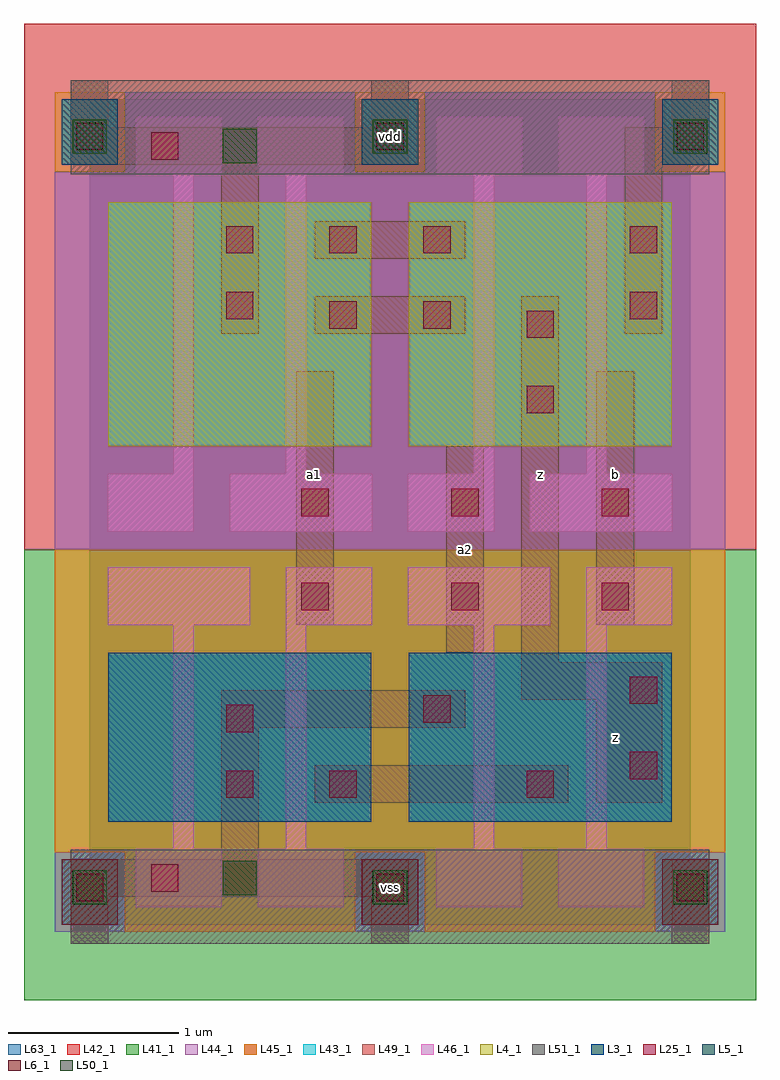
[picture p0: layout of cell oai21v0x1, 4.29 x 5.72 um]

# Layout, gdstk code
import gdstk
lib = gdstk.Library(unit=1e-6, precision=1e-09)
def R(c, l, rs):  # rectangles x0, y0, x1, y1
    for r in rs: c.add(gdstk.rectangle(r[:2], r[2:], *l))
def A(c, l, x, y, w, h, nx, ny, dx, dy):  # array of equal rectangles
    R(c, l, [(x+i*dx, y+j*dy, x+i*dx+w, y+j*dy+h) for i in range(nx) for j in range(ny)])
L3_1 = (3, 1)
L4_1 = (4, 1)
L5_1 = (5, 1)
L6_1 = (6, 1)
L25_1 = (25, 1)
L41_1 = (41, 1)
L42_1 = (42, 1)
L43_1 = (43, 1)
L44_1 = (44, 1)
L45_1 = (45, 1)
L46_1 = (46, 1)
L49_1 = (49, 1)
L50_1 = (50, 1)
L51_1 = (51, 1)
L63_1 = (63, 1)

oai21v0x1 = lib.new_cell('oai21v0x1')
R(oai21v0x1, L3_1, [(0.11,0.605,1.65,1.595), (1.87,0.605,3.41,1.595)])
R(oai21v0x1, L4_1, [(0.11,2.805,1.65,4.235), (1.87,2.805,3.41,4.235)])
A(oai21v0x1, L5_1, -0.165, 4.455, 0.33, 0.385, 3, 1, 1.76, 0)
A(oai21v0x1, L6_1, -0.165, 0, 0.33, 0.385, 3, 1, 1.76, 0)
A(oai21v0x1, L25_1, -0.08, 0.14, 0.16, 0.16, 3, 2, 1.76, 4.4)
A(oai21v0x1, L25_1, 1.24, 1.845, 0.16, 0.16, 3, 2, 0.88, 0.55)
R(oai21v0x1, L25_1, [(0.36,0.195,0.52,0.355), (0.8,0.745,0.96,0.905), (1.405,0.745,1.565,0.905), (2.56,0.745,2.72,0.905), (3.165,0.855,3.325,1.015), (0.8,1.13,0.96,1.29), (1.955,1.185,2.115,1.345), (3.165,1.295,3.325,1.455), (2.56,3,2.72,3.16), (2.56,3.44,2.72,3.6), (1.405,3.495,1.565,3.655), (1.955,3.495,2.115,3.655), (0.8,3.55,0.96,3.71), (3.165,3.55,3.325,3.71), (0.8,3.935,0.96,4.095), (1.405,3.935,1.565,4.095), (1.955,3.935,2.115,4.095), (3.165,3.935,3.325,4.095), (0.36,4.485,0.52,4.645)])
R(oai21v0x1, L41_1, [(-0.385,-0.44,3.905,2.2)])
R(oai21v0x1, L42_1, [(-0.385,2.2,3.905,5.28)])
A(oai21v0x1, L43_1, -0.165, 0, 0.33, 0.385, 3, 2, 1.76, 4.455)
R(oai21v0x1, L43_1, [(0.11,0.605,1.65,1.595), (1.87,0.605,3.41,1.595), (0.11,2.805,1.65,4.235), (1.87,2.805,3.41,4.235)])
A(oai21v0x1, L44_1, -0.205, -0.04, 0.41, 0.465, 3, 1, 1.76, 0)
R(oai21v0x1, L44_1, [(-0.205,2.2,3.725,4.415), (0.205,4.415,1.555,4.88), (1.965,4.415,3.315,4.88)])
A(oai21v0x1, L45_1, -0.205, 4.415, 0.41, 0.465, 3, 1, 1.76, 0)
R(oai21v0x1, L45_1, [(0.205,-0.04,1.555,0.425), (1.965,-0.04,3.315,0.425), (-0.205,0.425,3.725,2.2)])
R(oai21v0x1, L46_1, [(0.27,0.105,0.775,0.445), (0.985,0.105,1.49,0.445), (2.03,0.105,2.535,0.445), (2.745,0.105,3.25,0.445), (0.49,0.445,0.61,1.755), (1.15,0.445,1.27,1.755), (2.25,0.445,2.37,1.755), (2.91,0.445,3.03,1.755), (0.105,1.755,0.94,2.095), (1.15,1.755,1.655,2.095), (1.865,1.755,2.7,2.095), (2.91,1.755,3.415,2.095), (0.105,2.305,0.61,2.645), (0.82,2.305,1.655,2.645), (1.865,2.305,2.37,2.645), (2.58,2.305,3.415,2.645), (0.49,2.645,0.61,4.395), (1.15,2.645,1.27,4.395), (2.25,2.645,2.37,4.395), (2.91,2.645,3.03,4.395), (0.27,4.395,0.775,4.735), (0.985,4.395,1.49,4.735), (2.03,4.395,2.535,4.735), (2.745,4.395,3.25,4.735)])
A(oai21v0x1, L49_1, -0.11, 4.675, 0.22, 0.275, 3, 1, 1.76, 0)
R(oai21v0x1, L49_1, [(-0.11,-0.11,0.11,0.165), (1.65,-0.11,1.87,0.165), (3.41,-0.11,3.63,0.385), (-0.11,0.165,1.87,0.385), (0.77,0.385,0.99,1.155), (1.32,0.715,2.805,0.935), (2.97,0.715,3.355,1.32), (0.77,1.155,2.2,1.375), (2.53,1.32,3.355,1.54), (2.53,1.54,2.75,3.685), (2.09,1.595,2.31,2.805), (1.21,1.76,1.43,3.245), (2.97,1.76,3.19,3.245), (0.77,3.465,0.99,4.455), (1.32,3.465,2.2,3.685), (3.135,3.465,3.355,4.455), (1.32,3.905,2.2,4.125), (-0.11,4.455,1.87,4.675), (3.135,4.455,3.63,4.675)])
A(oai21v0x1, L50_1, -0.1, 0.12, 0.2, 0.2, 3, 2, 1.76, 4.4)
R(oai21v0x1, L50_1, [(0.78,0.175,0.98,0.375), (0.78,4.465,0.98,4.665)])
R(oai21v0x1, L51_1, [(-0.11,-0.11,3.63,0.44), (-0.11,4.4,3.63,4.95)])
R(oai21v0x1, L63_1, [(0,0,3.52,4.84)])
oai21v0x1.add(gdstk.Label('a1', (1.32,2.64), layer=49, texttype=1))
oai21v0x1.add(gdstk.Label('a2', (2.2,2.2), layer=49, texttype=1))
oai21v0x1.add(gdstk.Label('z', (3.08,1.1), layer=49, texttype=1))
oai21v0x1.add(gdstk.Label('b', (3.08,2.64), layer=49, texttype=1))
oai21v0x1.add(gdstk.Label('z', (2.64,2.64), layer=49, texttype=1))
oai21v0x1.add(gdstk.Label('vss', (1.76,0.22), layer=51, texttype=1))
oai21v0x1.add(gdstk.Label('vdd', (1.76,4.62), layer=51, texttype=1))

lib.write_gds('oai21v0x1.gds')
